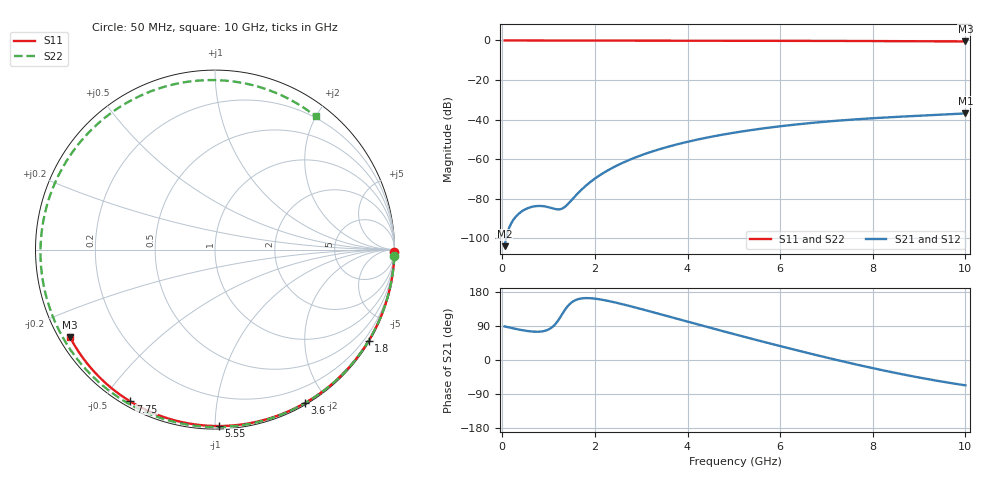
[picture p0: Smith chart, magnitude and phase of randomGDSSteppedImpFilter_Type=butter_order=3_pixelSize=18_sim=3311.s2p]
! freq	dB(S11)	phase(S11)	dB(S12)	phase(S12)
!  dB(S21)	phase(S21)	dB(S22)	phase(S22)
!S-par simulation data
#  GHz  S  DB  R 50
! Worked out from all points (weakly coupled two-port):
!   200 points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, 50 MHz to 10 GHz, reference 50 ohm
!   highest |S21| = -36.85 dB at 10 GHz (marker M1); lowest = -103.9 dB at 50 MHz (marker M2)
!   lowest |S11| = -0.5 dB at 10 GHz (marker M3), VSWR 34.60, Z = 1.56 - j13.9 ohm
!   |S11| at or under -10 dB: nowhere
!   |S22| runs from -0.6 to 0.0 dB; largest |S21 - S12| = 0
!   S11 on the Smith chart (normalised r, x): 50 MHz: open; 1.8 GHz: 0.03, -3.65; 3.6 GHz: 0.02, -1.74; 5.55 GHz: 0.02, -1.02; 7.75 GHz: 0.02, -0.59; 10 GHz: 0.03, -0.28
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0.05  -0.00 -0.9  -103.90 88.7  -103.90 88.7  -0.00 -2.0
0.7  -0.02 -12.0  -83.75 74.7  -83.75 74.7  -0.04 -27.7
1.1  -0.02 -18.8  -84.88 89.0  -84.88 89.0  -0.05 -43.1
1.5  -0.03 -25.6  -80.53 152.3  -80.53 152.3  -0.07 -57.9
1.75  -0.04 -29.8  -74.50 163.0  -74.50 163.0  -0.08 -66.9
1.8  -0.04 -30.6  -73.46 163.4  -73.46 163.4  -0.08 -68.6
2.1  -0.05 -35.6  -68.16 160.2  -68.16 160.2  -0.09 -79.0
2.45  -0.05 -41.3  -63.48 151.5  -63.48 151.5  -0.10 -90.6
2.9  -0.06 -48.6  -58.86 137.7  -58.86 137.7  -0.12 -104.9
3.4  -0.08 -56.5  -54.90 121.3  -54.90 121.3  -0.14 -119.8
3.6  -0.08 -59.7  -53.55 114.6  -53.55 114.6  -0.15 -125.6
4.35  -0.10 -71.2  -49.39 89.7  -49.39 89.7  -0.18 -146.4
5.05  -0.13 -81.6  -46.42 66.8  -46.42 66.8  -0.21 -164.9
5.55  -0.15 -88.8  -44.68 50.8  -44.68 50.8  -0.24 -177.9
6.1  -0.17 -96.6  -43.07 33.6  -43.07 33.6  -0.27 167.8
6.7  -0.20 -104.9  -41.61 15.4  -41.61 15.4  -0.32 152.0
7.2  -0.24 -111.7  -40.59 0.7  -40.59 0.7  -0.35 138.6
7.75  -0.28 -119.1  -39.66 -14.8  -39.66 -14.8  -0.40 123.2
8.35  -0.33 -127.1  -38.81 -30.6  -38.81 -30.6  -0.45 105.7
8.8  -0.37 -133.0  -38.26 -41.6  -38.26 -41.6  -0.49 92.0
9.2  -0.41 -138.3  -37.79 -50.7  -37.79 -50.7  -0.53 79.3
10  -0.50 -148.8  -36.85 -66.9  -36.85 -66.9  -0.63 52.9
